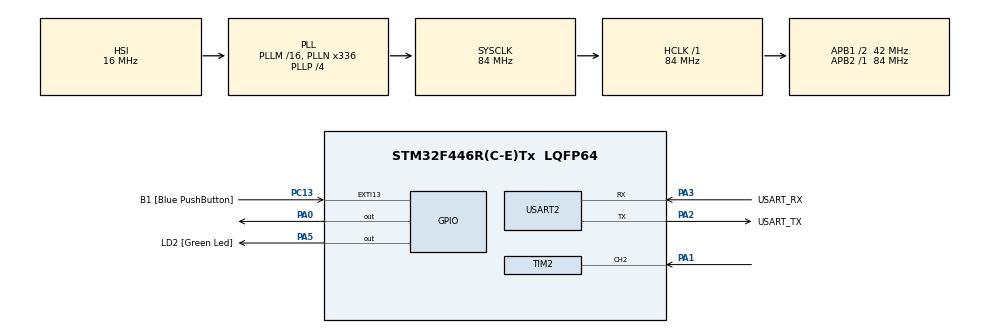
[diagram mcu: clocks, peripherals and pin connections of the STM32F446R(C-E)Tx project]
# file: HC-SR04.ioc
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Mcu.Family=STM32F4
Mcu.Name=STM32F446R(C-E)Tx
Mcu.Package=LQFP64
NVIC.PriorityGroup=NVIC_PRIORITYGROUP_0
NVIC.TIM2_IRQn=true\:0\:0\:false\:false\:true\:true\:true\:true
PA0-WKUP.Signal=GPIO_Output
PA1.Signal=S_TIM2_CH2
PA13.GPIO_Label=TMS
PA13.Mode=Serial_Wire
PA13.Signal=SYS_JTMS-SWDIO
PA14.GPIO_Label=TCK
PA14.Mode=Serial_Wire
PA14.Signal=SYS_JTCK-SWCLK
PA2.GPIO_Label=USART_TX
PA2.Mode=Asynchronous
PA2.Signal=USART2_TX
PA3.GPIO_Label=USART_RX
PA3.Mode=Asynchronous
PA3.Signal=USART2_RX
PA5.GPIO_Label=LD2 [Green Led]
PA5.Signal=GPIO_Output
PB3.GPIO_Label=SWO
PB3.Signal=SYS_JTDO-SWO
PC13.GPIO_Label=B1 [Blue PushButton]
PC13.GPIO_ModeDefaultEXTI=GPIO_MODE_IT_FALLING
PC13.Signal=GPXTI13
PC14-OSC32_IN.Mode=LSE-External-Oscillator
PC14-OSC32_IN.Signal=RCC_OSC32_IN
PC15-OSC32_OUT.Mode=LSE-External-Oscillator
PC15-OSC32_OUT.Signal=RCC_OSC32_OUT
PH0-OSC_IN.Mode=HSE-External-Oscillator
PH0-OSC_IN.Signal=RCC_OSC_IN
PH1-OSC_OUT.Mode=HSE-External-Oscillator
PH1-OSC_OUT.Signal=RCC_OSC_OUT
ProjectManager.HeapSize=0x200
ProjectManager.StackSize=0x400
ProjectManager.TargetToolchain=STM32CubeIDE
RCC.48MHZClocksFreq_Value=84000000
RCC.AHBFreq_Value=84000000
RCC.APB1CLKDivider=RCC_HCLK_DIV2
RCC.APB1Freq_Value=42000000
RCC.APB1TimFreq_Value=84000000
RCC.APB2Freq_Value=84000000
RCC.APB2TimFreq_Value=84000000
RCC.CortexFreq_Value=84000000
RCC.FLatency-AdvancedSettings=FLASH_LATENCY_2
RCC.HCLKFreq_Value=84000000
RCC.HSE_VALUE=8000000
RCC.HSI_VALUE=16000000
RCC.PLLN=336
RCC.PLLP=RCC_PLLP_DIV4
RCC.SYSCLKFreq_VALUE=84000000
RCC.SYSCLKSource=RCC_SYSCLKSOURCE_PLLCLK
RCC.USBFreq_Value=168000000
RCC.VCOOutputFreq_Value=336000000
SH.S_TIM2_CH2.0=TIM2_CH2,Input_Capture2_from_TI2
TIM2.Channel-Input_Capture2_from_TI2=TIM_CHANNEL_2
TIM2.Period=0xFFFF
TIM2.Prescaler=83
USART2.VirtualMode=VM_ASYNC
board=NUCLEO-F446RE

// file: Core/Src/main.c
/* USER CODE BEGIN Header */
/**
 ******************************************************************************
 * @file           : main.c
 * @brief          : Main program body
 ******************************************************************************
 * @attention
 *
 * Copyright (c) 2025 STMicroelectronics.
 * All rights reserved.
 *
 * This software is licensed under terms that can be found in the LICENSE file
 * in the root directory of this software component.
 * If no LICENSE file comes with this software, it is provided AS-IS.
 *
 ******************************************************************************
 VCC → 5V (works with 5V supply).

 GND → GND.

 Trigger → PA0 (GPIO Output).

 Echo → PA1 (Timer Input Capture, e.g., TIM2 CH2).

 TIM2 (Input Capture)

Channel 2 → PA1 (ECHO pin)

Prescaler: 84-1 (for 1 MHz counter = 1 µs per tick at 84 MHz clock).

Counter Period: 0xFFFF (max).
 */

/* USER CODE END Header */
#include "main.h"

/* USER CODE BEGIN PTD */

uint32_t IC_Val1 = 0;
uint32_t IC_Val2 = 0;
uint8_t Is_First_Captured = 0;
uint32_t Difference = 0;
float Distance = 0.0;

/* USER CODE END PTD */

/* USER CODE BEGIN PD */
#define TRIG_PIN GPIO_PIN_0
#define TRIG_PORT GPIOA
/* USER CODE END PD */

TIM_HandleTypeDef htim2;

UART_HandleTypeDef huart2;

void SystemClock_Config(void);
static void MX_GPIO_Init(void);
static void MX_USART2_UART_Init(void);
static void MX_TIM2_Init(void);
/* USER CODE BEGIN PFP */
float HCSR04_Read(void);
/* USER CODE END PFP */

int main(void)
{

  /* MCU Configuration--------------------------------------------------------*/

  /* Reset of all peripherals, Initializes the Flash interface and the Systick. */
  HAL_Init();

  /* Configure the system clock */
  SystemClock_Config();

  /* Initialize all configured peripherals */
  MX_GPIO_Init();
  MX_USART2_UART_Init();
  MX_TIM2_Init();
  /* USER CODE BEGIN 2 */
	HAL_TIM_IC_Start_IT(&htim2, TIM_CHANNEL_2);
  /* USER CODE END 2 */

  /* Infinite loop */
	while (1) {

    /* USER CODE BEGIN 3 */
		float dist = HCSR04_Read();
		printf("Distance = %.2f cm\r\n", dist);
		HAL_Delay(500);
	}
  /* USER CODE END 3 */
}

void SystemClock_Config(void)
{
  RCC_OscInitTypeDef RCC_OscInitStruct = {0};
  RCC_ClkInitTypeDef RCC_ClkInitStruct = {0};

  /** Configure the main internal regulator output voltage
  */
  __HAL_RCC_PWR_CLK_ENABLE();
  __HAL_PWR_VOLTAGESCALING_CONFIG(PWR_REGULATOR_VOLTAGE_SCALE3);

  /** Initializes the RCC Oscillators according to the specified parameters
  * in the RCC_OscInitTypeDef structure.
  */
  RCC_OscInitStruct.OscillatorType = RCC_OSCILLATORTYPE_HSI;
  RCC_OscInitStruct.HSIState = RCC_HSI_ON;
  RCC_OscInitStruct.HSICalibrationValue = RCC_HSICALIBRATION_DEFAULT;
  RCC_OscInitStruct.PLL.PLLState = RCC_PLL_ON;
  RCC_OscInitStruct.PLL.PLLSource = RCC_PLLSOURCE_HSI;
  RCC_OscInitStruct.PLL.PLLM = 16;
  RCC_OscInitStruct.PLL.PLLN = 336;
  RCC_OscInitStruct.PLL.PLLP = RCC_PLLP_DIV4;
  RCC_OscInitStruct.PLL.PLLQ = 2;
  RCC_OscInitStruct.PLL.PLLR = 2;
  if (HAL_RCC_OscConfig(&RCC_OscInitStruct) != HAL_OK)
  {
    Error_Handler();
  }

  /** Initializes the CPU, AHB and APB buses clocks
  */
  RCC_ClkInitStruct.ClockType = RCC_CLOCKTYPE_HCLK|RCC_CLOCKTYPE_SYSCLK
                              |RCC_CLOCKTYPE_PCLK1|RCC_CLOCKTYPE_PCLK2;
  RCC_ClkInitStruct.SYSCLKSource = RCC_SYSCLKSOURCE_PLLCLK;
  RCC_ClkInitStruct.AHBCLKDivider = RCC_SYSCLK_DIV1;
  RCC_ClkInitStruct.APB1CLKDivider = RCC_HCLK_DIV2;
  RCC_ClkInitStruct.APB2CLKDivider = RCC_HCLK_DIV1;

  if (HAL_RCC_ClockConfig(&RCC_ClkInitStruct, FLASH_LATENCY_2) != HAL_OK)
  {
    Error_Handler();
  }
}

static void MX_TIM2_Init(void)
{

  TIM_MasterConfigTypeDef sMasterConfig = {0};
  TIM_IC_InitTypeDef sConfigIC = {0};

  htim2.Instance = TIM2;
  htim2.Init.Prescaler = 83;
  htim2.Init.CounterMode = TIM_COUNTERMODE_UP;
  htim2.Init.Period = 0xFFFF;
  htim2.Init.ClockDivision = TIM_CLOCKDIVISION_DIV1;
  htim2.Init.AutoReloadPreload = TIM_AUTORELOAD_PRELOAD_DISABLE;
  if (HAL_TIM_IC_Init(&htim2) != HAL_OK)
  {
    Error_Handler();
  }
  sMasterConfig.MasterOutputTrigger = TIM_TRGO_RESET;
  sMasterConfig.MasterSlaveMode = TIM_MASTERSLAVEMODE_DISABLE;
  if (HAL_TIMEx_MasterConfigSynchronization(&htim2, &sMasterConfig) != HAL_OK)
  {
    Error_Handler();
  }
  sConfigIC.ICPolarity = TIM_INPUTCHANNELPOLARITY_RISING;
  sConfigIC.ICSelection = TIM_ICSELECTION_DIRECTTI;
  sConfigIC.ICPrescaler = TIM_ICPSC_DIV1;
  sConfigIC.ICFilter = 0;
  if (HAL_TIM_IC_ConfigChannel(&htim2, &sConfigIC, TIM_CHANNEL_2) != HAL_OK)
  {
    Error_Handler();
  }

}

static void MX_USART2_UART_Init(void)
{

  huart2.Instance = USART2;
  huart2.Init.BaudRate = 115200;
  huart2.Init.WordLength = UART_WORDLENGTH_8B;
  huart2.Init.StopBits = UART_STOPBITS_1;
  huart2.Init.Parity = UART_PARITY_NONE;
  huart2.Init.Mode = UART_MODE_TX_RX;
  huart2.Init.HwFlowCtl = UART_HWCONTROL_NONE;
  huart2.Init.OverSampling = UART_OVERSAMPLING_16;
  if (HAL_UART_Init(&huart2) != HAL_OK)
  {
    Error_Handler();
  }

}

static void MX_GPIO_Init(void)
{
  GPIO_InitTypeDef GPIO_InitStruct = {0};

  /* GPIO Ports Clock Enable */
  __HAL_RCC_GPIOC_CLK_ENABLE();
  __HAL_RCC_GPIOH_CLK_ENABLE();
  __HAL_RCC_GPIOA_CLK_ENABLE();
  __HAL_RCC_GPIOB_CLK_ENABLE();

  /*Configure GPIO pin Output Level */
  HAL_GPIO_WritePin(GPIOA, GPIO_PIN_0|LD2_Pin, GPIO_PIN_RESET);

  /*Configure GPIO pin : B1_Pin */
  GPIO_InitStruct.Pin = B1_Pin;
  GPIO_InitStruct.Mode = GPIO_MODE_IT_FALLING;
  GPIO_InitStruct.Pull = GPIO_NOPULL;
  HAL_GPIO_Init(B1_GPIO_Port, &GPIO_InitStruct);

  /*Configure GPIO pins : PA0 LD2_Pin */
  GPIO_InitStruct.Pin = GPIO_PIN_0|LD2_Pin;
  GPIO_InitStruct.Mode = GPIO_MODE_OUTPUT_PP;
  GPIO_InitStruct.Pull = GPIO_NOPULL;
  GPIO_InitStruct.Speed = GPIO_SPEED_FREQ_LOW;
  HAL_GPIO_Init(GPIOA, &GPIO_InitStruct);

}

/* USER CODE BEGIN 4 */
// Send trigger pulse
void HCSR04_Trigger(void) {
	HAL_GPIO_WritePin(TRIG_PORT, TRIG_PIN, GPIO_PIN_SET);
	HAL_Delay(0.01); // 10us
	HAL_GPIO_WritePin(TRIG_PORT, TRIG_PIN, GPIO_PIN_RESET);
}

// Timer callback (called on capture event)
void HAL_TIM_IC_CaptureCallback(TIM_HandleTypeDef *htim) {
	if (htim->Channel == HAL_TIM_ACTIVE_CHANNEL_2) {
		if (Is_First_Captured == 0) {
			IC_Val1 = HAL_TIM_ReadCapturedValue(htim, TIM_CHANNEL_2);
			Is_First_Captured = 1;
			__HAL_TIM_SET_CAPTUREPOLARITY(htim, TIM_CHANNEL_2,
					TIM_INPUTCHANNELPOLARITY_FALLING);
		} else if (Is_First_Captured == 1) {
			IC_Val2 = HAL_TIM_ReadCapturedValue(htim, TIM_CHANNEL_2);

			if (IC_Val2 > IC_Val1)
				Difference = IC_Val2 - IC_Val1;
			else
				Difference = (0xFFFF - IC_Val1) + IC_Val2;

			Distance = (Difference * 0.03) / 2;  // speed of sound = 340 m/s
			Is_First_Captured = 0;

			__HAL_TIM_SET_CAPTUREPOLARITY(htim, TIM_CHANNEL_2,
					TIM_INPUTCHANNELPOLARITY_RISING);
			__HAL_TIM_DISABLE_IT(htim, TIM_IT_CC2);
		}
	}
}

float HCSR04_Read(void) {
	HCSR04_Trigger();
	__HAL_TIM_ENABLE_IT(&htim2, TIM_IT_CC2);
	HAL_Delay(60); // wait for measurement
	return Distance;
}

int _write(int file, char *ptr, int len) {
	(void) file;
	int DataIdx;

	for (DataIdx = 0; DataIdx < len; DataIdx++) {
		ITM_SendChar(*ptr++);
	}
	return len;
}

/* USER CODE END 4 */

void Error_Handler(void)
{
	__disable_irq();
	while (1) {
	}
}
